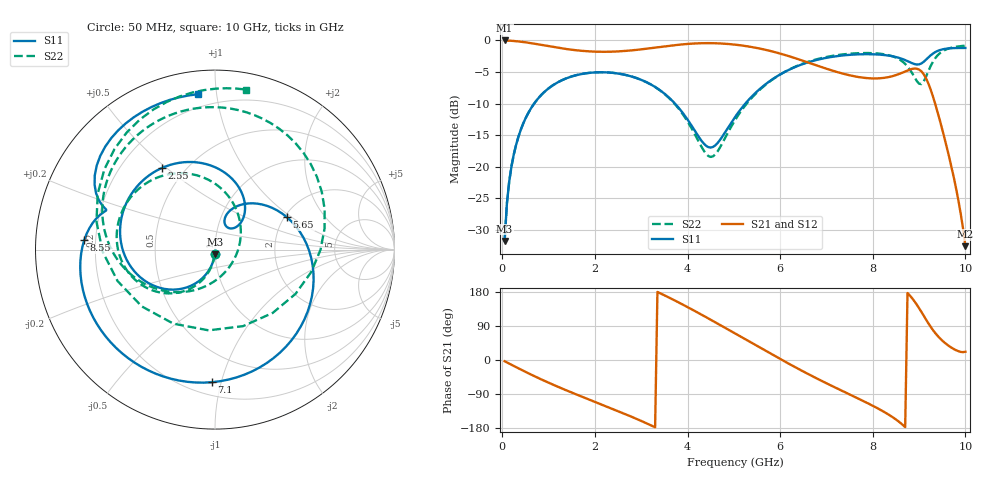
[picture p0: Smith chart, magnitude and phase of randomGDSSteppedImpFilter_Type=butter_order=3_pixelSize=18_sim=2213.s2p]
! freq	dB(S11)	phase(S11)	dB(S12)	phase(S12)
!  dB(S21)	phase(S21)	dB(S22)	phase(S22)
!S-par simulation data
#  GHz  S  DB  R 50
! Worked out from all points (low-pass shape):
!   200 points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, 50 MHz to 10 GHz, reference 50 ohm
!   highest |S21| = -0.01 dB at 50 MHz (marker M1); lowest = -32.6 dB at 10 GHz (marker M2)
!   |S21| within 3 dB of the highest: start of sweep to 6.405 GHz
!   lowest |S11| = -31.8 dB at 50 MHz (marker M3), VSWR 1.05, Z = 49.8 - j2.57 ohm
!   |S11| at or under -10 dB: start of sweep to 689 MHz; 3.728 GHz to 5.248 GHz (1.52 GHz wide, 33.9 % of centre)
!   |S22| runs from -31.8 to -0.8 dB; largest |S21 - S12| = 0
!   S11 on the Smith chart (normalised r, x): 50 MHz: 1.00, -0.05; 2.55 GHz: 0.37, +0.48; 5.65 GHz: 2.06, +0.92; 7.1 GHz: 0.29, -0.93; 8.55 GHz: 0.16, +0.04; 10 GHz: 0.12, +0.89
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0.05  -31.76 -93.4  -0.01 -3.2  -0.01 -3.2  -31.76 -93.1
0.2  -19.87 -103.8  -0.06 -12.7  -0.06 -12.7  -19.87 -102.5
0.5  -12.38 -123.4  -0.30 -31.2  -0.30 -31.2  -12.37 -120.1
1.75  -5.27 165.3  -1.67 -98.3  -1.67 -98.3  -5.27 177.3
2.55  -5.31 123.3  -1.72 -137.4  -1.72 -137.4  -5.30 141.5
3.4  -7.86 76.2  -1.05 176.7  -1.05 176.7  -7.89 98.3
3.95  -12.01 49.6  -0.59 142.8  -0.59 142.8  -12.25 59.5
4.5  -16.97 60.3  -0.44 106.3  -0.44 106.3  -18.45 -26.9
5.05  -11.88 65.8  -0.69 68.4  -0.69 68.4  -12.34 -113.7
5.65  -7.14 24.2  -1.43 26.7  -1.43 26.7  -7.24 -153.9
6.2  -4.62 -21.5  -2.52 -10.7  -2.52 -10.7  -4.59 177.5
6.7  -3.26 -61.7  -3.74 -43.0  -3.74 -43.0  -3.16 153.1
7.1  -2.63 -91.3  -4.72 -67.4  -4.72 -67.4  -2.49 133.8
7.8  -2.19 -138.3  -5.91 -108.5  -5.91 -108.5  -2.00 98.4
8.35  -2.41 -172.4  -5.80 -144.6  -5.80 -144.6  -2.36 62.0
8.55  -2.73 175.9  -5.37 -161.4  -5.37 -161.4  -2.91 41.8
8.85  -3.61 162.1  -4.51 162.9  -4.51 162.9  -5.18 -13.1
9.05  -3.65 159.3  -4.90 127.0  -4.90 127.0  -6.91 -94.5
9.2  -2.70 154.7  -6.82 96.9  -6.82 96.9  -4.88 -162.1
9.35  -1.85 144.6  -10.10 71.0  -10.10 71.0  -2.81 154.5
9.6  -1.30 125.3  -16.96 41.0  -16.96 41.0  -1.38 113.7
10  -1.20 96.1  -32.58 21.8  -32.58 21.8  -0.84 78.9
